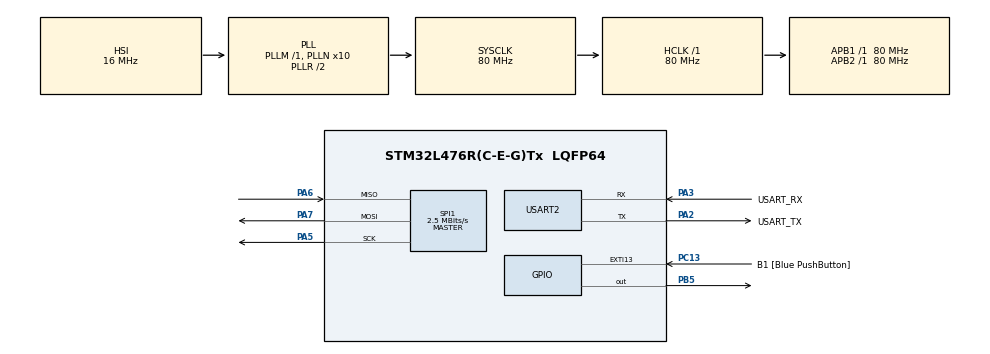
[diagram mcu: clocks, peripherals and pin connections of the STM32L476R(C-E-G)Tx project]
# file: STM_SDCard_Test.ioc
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FATFS._MAX_SS=4096
FATFS._USE_LFN=1
Mcu.Family=STM32L4
Mcu.Name=STM32L476R(C-E-G)Tx
Mcu.Package=LQFP64
NVIC.PriorityGroup=NVIC_PRIORITYGROUP_4
NVIC.TIM1_TRG_COM_TIM17_IRQn=true\:0\:0\:false\:false\:true\:true\:true
PA13\ (JTMS-SWDIO).GPIO_Label=TMS
PA13\ (JTMS-SWDIO).Mode=Serial_Wire
PA13\ (JTMS-SWDIO).Signal=SYS_JTMS-SWDIO
PA14\ (JTCK-SWCLK).GPIO_Label=TCK
PA14\ (JTCK-SWCLK).Mode=Serial_Wire
PA14\ (JTCK-SWCLK).Signal=SYS_JTCK-SWCLK
PA2.GPIO_Label=USART_TX
PA2.GPIO_Mode=GPIO_MODE_AF_PP
PA2.GPIO_PuPd=GPIO_NOPULL
PA2.GPIO_Speed=GPIO_SPEED_FREQ_VERY_HIGH
PA2.Mode=Asynchronous
PA2.Signal=USART2_TX
PA3.GPIO_Label=USART_RX
PA3.GPIO_Mode=GPIO_MODE_AF_PP
PA3.GPIO_PuPd=GPIO_NOPULL
PA3.GPIO_Speed=GPIO_SPEED_FREQ_VERY_HIGH
PA3.Mode=Asynchronous
PA3.Signal=USART2_RX
PA5.Mode=Full_Duplex_Master
PA5.Signal=SPI1_SCK
PA6.Mode=Full_Duplex_Master
PA6.Signal=SPI1_MISO
PA7.Mode=Full_Duplex_Master
PA7.Signal=SPI1_MOSI
PB3\ (JTDO-TRACESWO).GPIO_Label=SWO
PB3\ (JTDO-TRACESWO).Signal=SYS_JTDO-SWO
PB5.GPIO_PuPd=GPIO_PULLUP
PB5.GPIO_Speed=GPIO_SPEED_FREQ_VERY_HIGH
PB5.PinState=GPIO_PIN_SET
PB5.Signal=GPIO_Output
PC13.GPIO_Label=B1 [Blue PushButton]
PC13.GPIO_ModeDefaultEXTI=GPIO_MODE_IT_FALLING
PC13.GPIO_PuPd=GPIO_NOPULL
PC13.Signal=GPXTI13
PC14-OSC32_IN\ (PC14).Mode=LSE-External-Oscillator
PC14-OSC32_IN\ (PC14).Signal=RCC_OSC32_IN
PC15-OSC32_OUT\ (PC15).Mode=LSE-External-Oscillator
PC15-OSC32_OUT\ (PC15).Signal=RCC_OSC32_OUT
PH0-OSC_IN\ (PH0).Signal=RCC_OSC_IN
PH1-OSC_OUT\ (PH1).Signal=RCC_OSC_OUT
ProjectManager.HeapSize=0x200
ProjectManager.StackSize=0x400
ProjectManager.TargetToolchain=MDK-ARM V5.27
RCC.ADCFreq_Value=64000000
RCC.AHBFreq_Value=80000000
RCC.APB1Freq_Value=80000000
RCC.APB1TimFreq_Value=80000000
RCC.APB2Freq_Value=80000000
RCC.APB2TimFreq_Value=80000000
RCC.CortexFreq_Value=80000000
RCC.HCLKFreq_Value=80000000
RCC.HSE_VALUE=8000000
RCC.HSI_VALUE=16000000
RCC.MSI_VALUE=4000000
RCC.PLLN=10
RCC.PLLSourceVirtual=RCC_PLLSOURCE_HSI
RCC.PREFETCH_ENABLE=1
RCC.SYSCLKFreq_VALUE=80000000
RCC.SYSCLKSource=RCC_SYSCLKSOURCE_PLLCLK
RCC.USBFreq_Value=64000000
RCC.VCOOutputFreq_Value=160000000
SPI1.BaudRatePrescaler=SPI_BAUDRATEPRESCALER_32
SPI1.CalculateBaudRate=2.5 MBits/s
SPI1.DataSize=SPI_DATASIZE_8BIT
SPI1.Direction=SPI_DIRECTION_2LINES
SPI1.Mode=SPI_MODE_MASTER
SPI1.VirtualType=VM_MASTER
TIM1.Channel-Output\ Compare1\ No\ Output=TIM_CHANNEL_1
USART2.VirtualMode-Asynchronous=VM_ASYNC
VP_FATFS_VS_Generic.Mode=User_defined
VP_TIM1_VS_no_output1.Mode=Output Compare1 No Output
board=NUCLEO-L476RG

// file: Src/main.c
/* USER CODE BEGIN Header */
/**
  ******************************************************************************
  * @file           : main.c
  * @brief          : Main program body
  ******************************************************************************
  * @attention
  *
  * <h2><center>&copy; Copyright (c) 2020 STMicroelectronics.
  * All rights reserved.</center></h2>
  *
  * This software component is licensed by ST under Ultimate Liberty license
  * SLA0044, the "License"; You may not use this file except in compliance with
  * the License. You may obtain a copy of the License at:
  *                             www.st.com/SLA0044
  *
  ******************************************************************************
  */
/* USER CODE END Header */

#include "main.h"
#include "fatfs.h"

/* USER CODE BEGIN Includes */

#include "stdio.h"
#include "string.h"
#include "stdlib.h"

#include "skp_sdcard.h"

/* USER CODE END Includes */

/* USER CODE BEGIN PTD */

#define KEIL //KEIL ,True_STD

/* USER CODE END PTD */

SPI_HandleTypeDef hspi1;

TIM_HandleTypeDef htim1;

UART_HandleTypeDef huart2;

void SystemClock_Config(void);
static void MX_GPIO_Init(void);
static void MX_SPI1_Init(void);
static void MX_TIM1_Init(void);
static void MX_USART2_UART_Init(void);
/* USER CODE BEGIN PFP */

#ifdef KEIL
	 #ifdef __GNUC__
	 //With GCC, small printf (option LD Linker->Libraries->Small printf
	 //set to 'Yes') calls __io_putchar()
		#define PUTCHAR_PROTOTYPE int __io_putchar(int ch)
	 #else
		#define PUTCHAR_PROTOTYPE int fputc(int ch, FILE *f)
	 #endif /* __GNUC__*/
   #if 1
   PUTCHAR_PROTOTYPE
   {
	 HAL_UART_Transmit(&huart2, (uint8_t *)&ch, 1, 0xFFFF);
	 return ch;
   }
   #endif
 #endif

 #ifdef True_STD
 int _write(int fd, char *str, int len)
 {
   for(int i=0; i<len; i++)
   {
	 HAL_UART_Transmit(&huart2, (uint8_t *)&str[i], 1, 0xFFFF);
   }
   return len;
 }
#endif

/* USER CODE END PFP */

int main(void)
{

  /* MCU Configuration--------------------------------------------------------*/

  /* Reset of all peripherals, Initializes the Flash interface and the Systick. */
  HAL_Init();

  /* Configure the system clock */
  SystemClock_Config();

  /* Initialize all configured peripherals */
  MX_GPIO_Init();
  MX_SPI1_Init();
  MX_TIM1_Init();
  MX_USART2_UART_Init();
  MX_FATFS_Init();

  /* USER CODE BEGIN 2 */
  testFunc();

  /* USER CODE END 2 */

  /* Infinite loop */
  while (1)
  {

  }
}

void SystemClock_Config(void)
{
  RCC_OscInitTypeDef RCC_OscInitStruct = {0};
  RCC_ClkInitTypeDef RCC_ClkInitStruct = {0};
  RCC_PeriphCLKInitTypeDef PeriphClkInit = {0};

  /** Initializes the CPU, AHB and APB busses clocks
  */
  RCC_OscInitStruct.OscillatorType = RCC_OSCILLATORTYPE_HSI;
  RCC_OscInitStruct.HSIState = RCC_HSI_ON;
  RCC_OscInitStruct.HSICalibrationValue = RCC_HSICALIBRATION_DEFAULT;
  RCC_OscInitStruct.PLL.PLLState = RCC_PLL_ON;
  RCC_OscInitStruct.PLL.PLLSource = RCC_PLLSOURCE_HSI;
  RCC_OscInitStruct.PLL.PLLM = 1;
  RCC_OscInitStruct.PLL.PLLN = 10;
  RCC_OscInitStruct.PLL.PLLP = RCC_PLLP_DIV7;
  RCC_OscInitStruct.PLL.PLLQ = RCC_PLLQ_DIV2;
  RCC_OscInitStruct.PLL.PLLR = RCC_PLLR_DIV2;
  if (HAL_RCC_OscConfig(&RCC_OscInitStruct) != HAL_OK)
  {
    Error_Handler();
  }
  /** Initializes the CPU, AHB and APB busses clocks
  */
  RCC_ClkInitStruct.ClockType = RCC_CLOCKTYPE_HCLK|RCC_CLOCKTYPE_SYSCLK
                              |RCC_CLOCKTYPE_PCLK1|RCC_CLOCKTYPE_PCLK2;
  RCC_ClkInitStruct.SYSCLKSource = RCC_SYSCLKSOURCE_PLLCLK;
  RCC_ClkInitStruct.AHBCLKDivider = RCC_SYSCLK_DIV1;
  RCC_ClkInitStruct.APB1CLKDivider = RCC_HCLK_DIV1;
  RCC_ClkInitStruct.APB2CLKDivider = RCC_HCLK_DIV1;

  if (HAL_RCC_ClockConfig(&RCC_ClkInitStruct, FLASH_LATENCY_4) != HAL_OK)
  {
    Error_Handler();
  }
  PeriphClkInit.PeriphClockSelection = RCC_PERIPHCLK_USART2;
  PeriphClkInit.Usart2ClockSelection = RCC_USART2CLKSOURCE_PCLK1;
  if (HAL_RCCEx_PeriphCLKConfig(&PeriphClkInit) != HAL_OK)
  {
    Error_Handler();
  }
  /** Configure the main internal regulator output voltage
  */
  if (HAL_PWREx_ControlVoltageScaling(PWR_REGULATOR_VOLTAGE_SCALE1) != HAL_OK)
  {
    Error_Handler();
  }
}

static void MX_SPI1_Init(void)
{

  /* SPI1 parameter configuration*/
  hspi1.Instance = SPI1;
  hspi1.Init.Mode = SPI_MODE_MASTER;
  hspi1.Init.Direction = SPI_DIRECTION_2LINES;
  hspi1.Init.DataSize = SPI_DATASIZE_8BIT;
  hspi1.Init.CLKPolarity = SPI_POLARITY_LOW;
  hspi1.Init.CLKPhase = SPI_PHASE_1EDGE;
  hspi1.Init.NSS = SPI_NSS_SOFT;
  hspi1.Init.BaudRatePrescaler = SPI_BAUDRATEPRESCALER_32;
  hspi1.Init.FirstBit = SPI_FIRSTBIT_MSB;
  hspi1.Init.TIMode = SPI_TIMODE_DISABLE;
  hspi1.Init.CRCCalculation = SPI_CRCCALCULATION_DISABLE;
  hspi1.Init.CRCPolynomial = 7;
  hspi1.Init.CRCLength = SPI_CRC_LENGTH_DATASIZE;
  hspi1.Init.NSSPMode = SPI_NSS_PULSE_ENABLE;
  if (HAL_SPI_Init(&hspi1) != HAL_OK)
  {
    Error_Handler();
  }

}

static void MX_TIM1_Init(void)
{

  TIM_MasterConfigTypeDef sMasterConfig = {0};
  TIM_OC_InitTypeDef sConfigOC = {0};
  TIM_BreakDeadTimeConfigTypeDef sBreakDeadTimeConfig = {0};

  htim1.Instance = TIM1;
  htim1.Init.Prescaler = 0;
  htim1.Init.CounterMode = TIM_COUNTERMODE_UP;
  htim1.Init.Period = 0;
  htim1.Init.ClockDivision = TIM_CLOCKDIVISION_DIV1;
  htim1.Init.RepetitionCounter = 0;
  htim1.Init.AutoReloadPreload = TIM_AUTORELOAD_PRELOAD_DISABLE;
  if (HAL_TIM_OC_Init(&htim1) != HAL_OK)
  {
    Error_Handler();
  }
  sMasterConfig.MasterOutputTrigger = TIM_TRGO_RESET;
  sMasterConfig.MasterOutputTrigger2 = TIM_TRGO2_RESET;
  sMasterConfig.MasterSlaveMode = TIM_MASTERSLAVEMODE_DISABLE;
  if (HAL_TIMEx_MasterConfigSynchronization(&htim1, &sMasterConfig) != HAL_OK)
  {
    Error_Handler();
  }
  sConfigOC.OCMode = TIM_OCMODE_TIMING;
  sConfigOC.Pulse = 0;
  sConfigOC.OCPolarity = TIM_OCPOLARITY_HIGH;
  sConfigOC.OCNPolarity = TIM_OCNPOLARITY_HIGH;
  sConfigOC.OCFastMode = TIM_OCFAST_DISABLE;
  sConfigOC.OCIdleState = TIM_OCIDLESTATE_RESET;
  sConfigOC.OCNIdleState = TIM_OCNIDLESTATE_RESET;
  if (HAL_TIM_OC_ConfigChannel(&htim1, &sConfigOC, TIM_CHANNEL_1) != HAL_OK)
  {
    Error_Handler();
  }
  sBreakDeadTimeConfig.OffStateRunMode = TIM_OSSR_DISABLE;
  sBreakDeadTimeConfig.OffStateIDLEMode = TIM_OSSI_DISABLE;
  sBreakDeadTimeConfig.LockLevel = TIM_LOCKLEVEL_OFF;
  sBreakDeadTimeConfig.DeadTime = 0;
  sBreakDeadTimeConfig.BreakState = TIM_BREAK_DISABLE;
  sBreakDeadTimeConfig.BreakPolarity = TIM_BREAKPOLARITY_HIGH;
  sBreakDeadTimeConfig.BreakFilter = 0;
  sBreakDeadTimeConfig.Break2State = TIM_BREAK2_DISABLE;
  sBreakDeadTimeConfig.Break2Polarity = TIM_BREAK2POLARITY_HIGH;
  sBreakDeadTimeConfig.Break2Filter = 0;
  sBreakDeadTimeConfig.AutomaticOutput = TIM_AUTOMATICOUTPUT_DISABLE;
  if (HAL_TIMEx_ConfigBreakDeadTime(&htim1, &sBreakDeadTimeConfig) != HAL_OK)
  {
    Error_Handler();
  }

}

static void MX_USART2_UART_Init(void)
{

  huart2.Instance = USART2;
  huart2.Init.BaudRate = 115200;
  huart2.Init.WordLength = UART_WORDLENGTH_8B;
  huart2.Init.StopBits = UART_STOPBITS_1;
  huart2.Init.Parity = UART_PARITY_NONE;
  huart2.Init.Mode = UART_MODE_TX_RX;
  huart2.Init.HwFlowCtl = UART_HWCONTROL_NONE;
  huart2.Init.OverSampling = UART_OVERSAMPLING_16;
  huart2.Init.OneBitSampling = UART_ONE_BIT_SAMPLE_DISABLE;
  huart2.AdvancedInit.AdvFeatureInit = UART_ADVFEATURE_NO_INIT;
  if (HAL_UART_Init(&huart2) != HAL_OK)
  {
    Error_Handler();
  }

}

static void MX_GPIO_Init(void)
{
  GPIO_InitTypeDef GPIO_InitStruct = {0};

  /* GPIO Ports Clock Enable */
  __HAL_RCC_GPIOC_CLK_ENABLE();
  __HAL_RCC_GPIOH_CLK_ENABLE();
  __HAL_RCC_GPIOA_CLK_ENABLE();
  __HAL_RCC_GPIOB_CLK_ENABLE();

  /*Configure GPIO pin Output Level */
  HAL_GPIO_WritePin(GPIOB, GPIO_PIN_5, GPIO_PIN_SET);

  /*Configure GPIO pin : B1_Pin */
  GPIO_InitStruct.Pin = B1_Pin;
  GPIO_InitStruct.Mode = GPIO_MODE_IT_FALLING;
  GPIO_InitStruct.Pull = GPIO_NOPULL;
  HAL_GPIO_Init(B1_GPIO_Port, &GPIO_InitStruct);

  /*Configure GPIO pin : PB5 */
  GPIO_InitStruct.Pin = GPIO_PIN_5;
  GPIO_InitStruct.Mode = GPIO_MODE_OUTPUT_PP;
  GPIO_InitStruct.Pull = GPIO_PULLUP;
  GPIO_InitStruct.Speed = GPIO_SPEED_FREQ_VERY_HIGH;
  HAL_GPIO_Init(GPIOB, &GPIO_InitStruct);

}

void Error_Handler(void)
{
}

/************************ (C) COPYRIGHT STMicroelectronics *****END OF FILE****/
